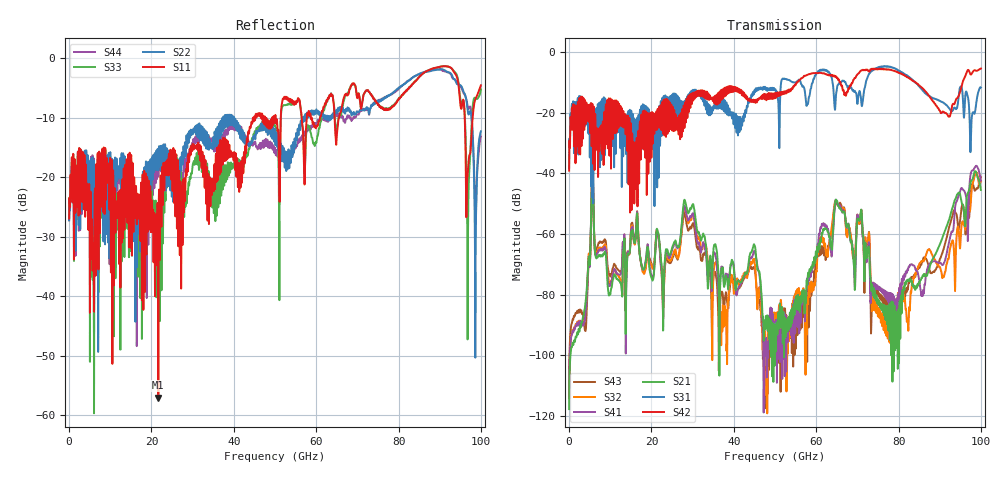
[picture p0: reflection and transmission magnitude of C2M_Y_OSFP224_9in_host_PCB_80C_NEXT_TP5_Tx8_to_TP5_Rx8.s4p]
# GHz S RI R 45
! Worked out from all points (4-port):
!   4000 points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, 25 MHz to 100 GHz, reference 45 ohm
!   strongest paths, dB at 25 MHz, 25.02 GHz, 50.02 GHz, 75.03 GHz, 100 GHz:
!     S42: -39.1, -25.5, -13.8, -5.5, -5.4
!     S31: -38.1, -14.4, -12.4, -5.0, -11.6
!     S21: -117.8, -64.7, -91.2, -81.7, -45.4
!     S41: -114.2, -65.5, -90.5, -78.2, -42.4
!     S32: -113.9, -67.7, -88.8, -86.9, -42.7
!     S43: -110.8, -68.5, -94.0, -78.8, -41.2
!   lowest |S11| = -57.0 dB at 21.68 GHz (marker M1), VSWR 1.00, Z = 45.1 - j0.026 ohm
!   |S11| at or under -10 dB: start of sweep to 44.65 GHz; 58.95 GHz to 60.92 GHz (1.968 GHz wide, 3.28 % of centre); 96.08 GHz to 98 GHz (1.928 GHz wide, 1.99 % of centre)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
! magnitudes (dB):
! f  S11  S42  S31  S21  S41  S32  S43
! 25 MHz  -26.9  -39.1  -38.1  -117.8  -114.2  -113.9  -110.8
! 5.7 GHz  -34.8  -17.3  -35.6  -42.9  -42.9  -42.8  -42.7
! 9.875 GHz  -21.1  -24.1  -22.7  -79.7  -76.9  -76.0  -73.5
! 21.68 GHz  -57.0  -24.1  -23.3  -59.6  -60.5  -60.0  -60.9
! 65.1 GHz  -12.4  -8.3  -11.5  -49.1  -49.4  -49.7  -50.0
! 85.75 GHz  -2.7  -11.8  -12.4  -74.4  -79.3  -69.0  -68.9
! 100 GHz  -4.6  -5.4  -11.6  -45.4  -42.4  -42.7  -41.2
